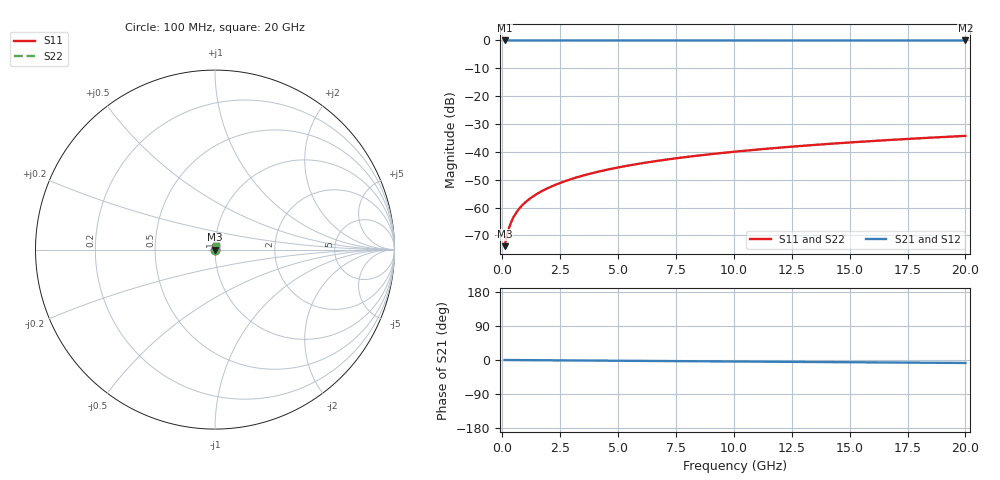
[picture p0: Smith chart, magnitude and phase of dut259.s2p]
! Touchstone file exported from HFSS 2026.1.0
!  File:  C:/ffzhzh/LocalFiles/Ansys_Project_Files/temp_train_TSV_259_1782993055_45328.aedt
!  Generated:  07:52:33 PM Jul  2, 2026
!  Design:  TSV
!  Project:  temp_train_TSV_259_1782993055_45328
! Variables:
!  h_bsmrdl = 2um
!  h_ox = 20um
!  h_rdl = 5um
!  h_sub = 77.03um
!  h_tmrdl = 5um
!  h_tsv = 77.03um
!  h_via = 3um
!  l_bsmrdl = 300um
!  l_sub = 417.76um
!  l_tmrdl = 200um
!  m_sub = 200um
!  pitch = 42.36um
!  r_tsv = 8.88um
!  s_tmrdl = 10um
!  w_bsmrdl = 18um
!  w_sub = 500um
!  w_tmrdl = 12um
!  x_tsv_center1 = 206um
!  x_tsv_center2 = 524um
!  x_tsv_center3 = 736um
!  x_tsv_center4 = 1054um
!  x_tsv_center5 = 1266um
!  x_tsv_center6 = 1584um
# GHz S MA R 50.000000
! Terminal data exported
! Port[1] = TSV1_1_T1
! Port[2] = TSV1_1_T2
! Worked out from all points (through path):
!   200 points, 100 MHz to 20 GHz, reference 50 ohm
!   highest |S21| = 0.00 dB at 100 MHz (marker M1); lowest = 0.0 dB at 20 GHz (marker M2)
!   group delay of S21, straight-line fit = 1.09 ps
!   lowest |S11| = -73.8 dB at 100 MHz (marker M3), VSWR 1.00, Z = 50 + j0.0139 ohm
!   |S11| at or under -10 dB: start of sweep to end of sweep
!   |S22| runs from -73.8 to -34.3 dB; largest |S21 - S12| = 3.2e-15
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0.1  0.0002032 43.1  0.9999 -0.0  0.9999 -0.0  0.0002032 43.1
! Gamma 0 0 0 0
! Port Impedance 50 0 50 0
0.2  0.0003184 59.9  0.9998 -0.1  0.9998 -0.1  0.0003184 59.9
0.3  0.0004444 66.6  0.9998 -0.1  0.9998 -0.1  0.0004444 66.6
0.4  0.0005701 69.7  0.9998 -0.2  0.9998 -0.2  0.0005701 69.7
0.5  0.0006924 71.4  0.9998 -0.2  0.9998 -0.2  0.0006924 71.4
0.6  0.0008106 72.4  0.9998 -0.2  0.9998 -0.2  0.0008106 72.4
0.7  0.0009248 73.2  0.9997 -0.3  0.9997 -0.3  0.0009248 73.2
0.8  0.001036 73.8  0.9997 -0.3  0.9997 -0.3  0.001036 73.8
1  0.00125 74.7  0.9997 -0.4  0.9997 -0.4  0.00125 74.7
1.4  0.001662 76.3  0.9996 -0.6  0.9996 -0.6  0.001662 76.3
1.7  0.001966 77.2  0.9996 -0.7  0.9996 -0.7  0.001966 77.2
2  0.002268 78.0  0.9996 -0.8  0.9996 -0.8  0.002268 78.0
2.7  0.002973 79.3  0.9995 -1.1  0.9995 -1.1  0.002973 79.3
3.5  0.003773 80.0  0.9994 -1.4  0.9994 -1.4  0.003773 80.0
4.2  0.004468 80.4  0.9994 -1.7  0.9994 -1.7  0.004468 80.4
5  0.005255 80.7  0.9993 -2.0  0.9993 -2.0  0.005254 80.7
6.8  0.007 80.8  0.9992 -2.7  0.9992 -2.7  0.007 80.8
8.3  0.008436 80.8  0.9991 -3.3  0.9991 -3.3  0.008436 80.8
10.1  0.01015 80.6  0.999 -4.0  0.999 -4.0  0.01015 80.6
13.4  0.01326 80.0  0.9988 -5.3  0.9988 -5.3  0.01326 80.0
16.7  0.01634 79.1  0.9986 -6.5  0.9986 -6.5  0.01634 79.1
20  0.01938 78.1  0.9985 -7.8  0.9985 -7.8  0.01938 78.1
